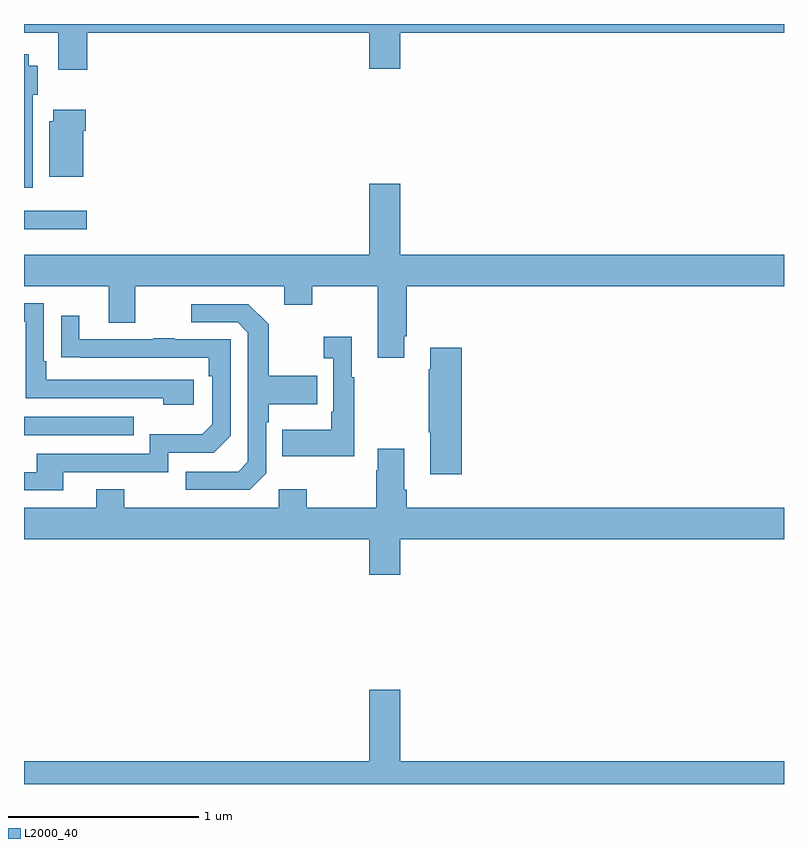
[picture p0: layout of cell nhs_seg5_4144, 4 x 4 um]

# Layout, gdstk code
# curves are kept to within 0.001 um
import gdstk
lib = gdstk.Library(unit=1e-6, precision=1e-09)
def R(c, l, rs):  # rectangles x0, y0, x1, y1
    for r in rs: c.add(gdstk.rectangle(r[:2], r[2:], *l))
def P(c, l, *ps):  # polygons
    for p in ps: c.add(gdstk.Polygon(p, *l))
L2000_40 = (2000, 40)

nhs_seg5_4144 = lib.new_cell('nhs_seg5_4144')
R(nhs_seg5_4144, L2000_40, [(355,862.635,355.577,862.731), (355,863.72,355.33,863.817)])
P(nhs_seg5_4144, L2000_40, [(359,864.799),(355,864.799),(355,864.752),(355.181,864.752),(355.181,864.558),(355.334,864.558),(355.334,864.752),(356.816,864.752),(356.816,864.564),(356.98,864.564),(356.98,864.752),(359,864.752)],
  [(355.045,864.426),(355.072,864.426),(355.072,864.58),(355.024,864.58),(355.024,864.64),(355,864.64),(355,863.937),(355.045,863.937)],
  [(355.312,864.236),(355.325,864.236),(355.325,864.349),(355.154,864.349),(355.154,864.288),(355.133,864.288),(355.133,863.996),(355.312,863.996)],
  [(357.001,863.155),(357.014,863.155),(357.014,863.42),(359,863.42),(359,863.584),(356.98,863.584),(356.98,863.959),(356.816,863.959),(356.816,863.584),(355,863.584),(355,863.42),(355.445,863.42),(355.445,863.226),(355.585,863.226),(355.585,863.42),(356.369,863.42),(356.369,863.321),(356.517,863.321),(356.517,863.42),(356.861,863.42),(356.861,863.043),(357.001,863.043)],
  [(355.894,862.926),(355.117,862.926),(355.117,863.023),(355.104,863.023),(355.104,863.328),(355,863.328),(355,863.232),(355.008,863.232),(355.008,862.83),(355.733,862.83),(355.733,862.796),(355.894,862.796)],
  [(356.274,862.434),(356.274,862.703),(356.287,862.703),(356.287,862.799),(356.543,862.799),(356.543,862.947),(356.287,862.947),(356.287,863.219),(356.181,863.325),(355.881,863.325),(355.881,863.229),(356.124,863.229),(356.178,863.175),(356.178,862.494),(356.127,862.443),(355.851,862.443),(355.851,862.347),(356.187,862.347)],
  [(355.207,862.44),(355.758,862.44),(355.758,862.542),(355.998,862.542),(356.088,862.632),(356.088,863.139),(355.793,863.139),(355.793,863.144),(355.681,863.144),(355.681,863.139),(355.291,863.139),(355.291,863.263),(355.195,863.263),(355.195,863.044),(355.972,863.043),(355.972,862.946),(355.992,862.946),(355.992,862.692),(355.939,862.639),(355.662,862.639),(355.662,862.536),(355.067,862.536),(355.067,862.44),(355,862.44),(355,862.344),(355.207,862.344)],
  [(356.737,862.939),(356.725,862.939),(356.725,863.152),(356.577,863.152),(356.577,863.039),(356.628,863.039),(356.628,862.759),(356.616,862.759),(356.616,862.663),(356.359,862.663),(356.359,862.523),(356.737,862.523)],
  [(357.305,863.095),(357.137,863.095),(357.137,862.982),(357.13,862.982),(357.13,862.651),(357.137,862.651),(357.137,862.428),(357.305,862.428)],
  [(356.98,862.088),(359,862.088),(359,862.252),(357.014,862.252),(357.014,862.348),(357.001,862.348),(357.001,862.564),(356.861,862.564),(356.861,862.451),(356.854,862.451),(356.854,862.252),(356.487,862.252),(356.487,862.351),(356.34,862.351),(356.34,862.252),(355.527,862.252),(355.527,862.351),(355.379,862.351),(355.379,862.252),(355,862.252),(355,862.088),(356.816,862.088),(356.816,861.9),(356.98,861.9)],
  [(359,860.92),(356.98,860.92),(356.98,861.295),(356.816,861.295),(356.816,860.92),(355,860.92),(355,860.799),(359,860.799)])

lib.write_gds('nhs_seg5_4144.gds')
